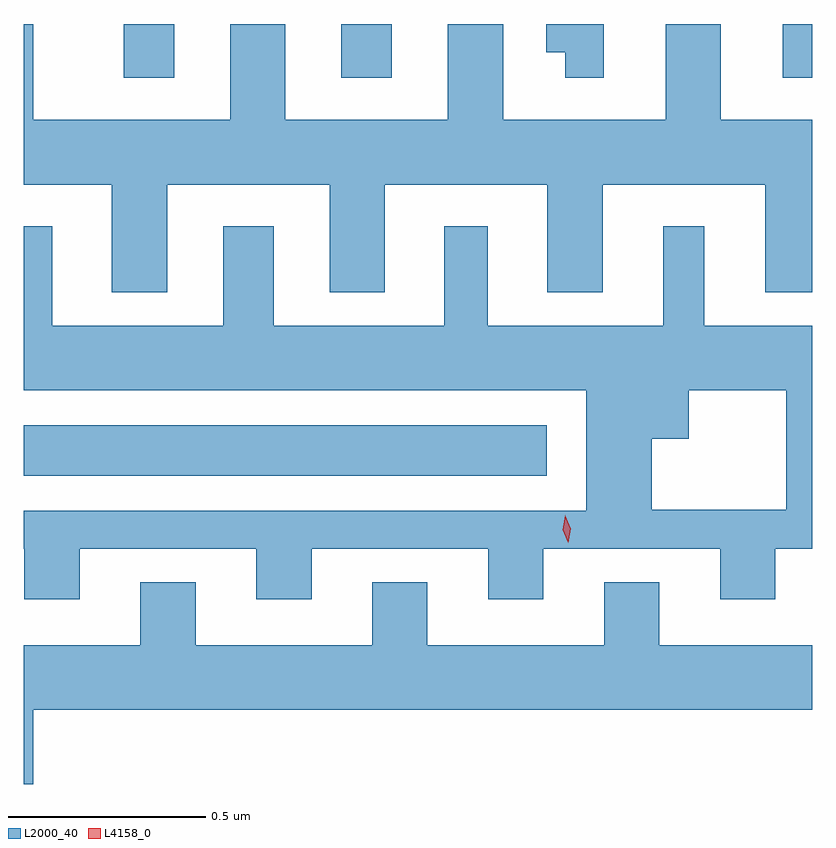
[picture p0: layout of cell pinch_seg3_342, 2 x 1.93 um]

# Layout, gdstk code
import gdstk
lib = gdstk.Library(unit=1e-6, precision=1e-09)
def R(c, l, rs):  # rectangles x0, y0, x1, y1
    for r in rs: c.add(gdstk.rectangle(r[:2], r[2:], *l))
def P(c, l, *ps):  # polygons
    for p in ps: c.add(gdstk.Polygon(p, *l))
L2000_40 = (2000, 40)
L4158_0 = (4158, 0)

pinch_seg3_342 = lib.new_cell('pinch_seg3_342')
R(pinch_seg3_342, L2000_40, [(1004.307,718.826,1005.634,718.954), (1004.561,719.835,1004.689,719.971), (1005.113,719.835,1005.241,719.971), (1006.232,719.835,1006.307,719.971)])
P(pinch_seg3_342, L2000_40, [(1004.671,719.564),(1005.083,719.564),(1005.083,719.291),(1005.223,719.291),(1005.223,719.564),(1005.635,719.564),(1005.635,719.291),(1005.775,719.291),(1005.775,719.564),(1006.187,719.564),(1006.187,719.291),(1006.307,719.291),(1006.307,719.728),(1006.075,719.728),(1006.075,719.971),(1005.935,719.971),(1005.935,719.728),(1005.523,719.728),(1005.523,719.971),(1005.383,719.971),(1005.383,719.728),(1004.971,719.728),(1004.971,719.971),(1004.831,719.971),(1004.831,719.728),(1004.332,719.728),(1004.332,719.971),(1004.307,719.971),(1004.307,719.564),(1004.531,719.564),(1004.531,719.291),(1004.671,719.291)],
  [(1005.778,719.971),(1005.632,719.971),(1005.632,719.9),(1005.68,719.9),(1005.68,719.835),(1005.778,719.835)],
  [(1004.307,718.737),(1004.307,718.641),(1004.309,718.641),(1004.309,718.512),(1004.449,718.512),(1004.449,718.641),(1004.897,718.641),(1004.897,718.512),(1005.037,718.512),(1005.037,718.641),(1005.485,718.641),(1005.485,718.512),(1005.625,718.512),(1005.625,718.641),(1006.073,718.641),(1006.073,718.512),(1006.213,718.512),(1006.213,718.64),(1006.307,718.64),(1006.307,719.206),(1006.033,719.206),(1006.033,719.458),(1005.929,719.458),(1005.929,719.206),(1005.484,719.206),(1005.484,719.458),(1005.374,719.458),(1005.374,719.206),(1004.941,719.206),(1004.941,719.458),(1004.813,719.458),(1004.813,719.206),(1004.38,719.206),(1004.38,719.458),(1004.307,719.458),(1004.307,719.042),(1005.734,719.042),(1005.734,718.739),(1005.9,718.739),(1005.9,718.919),(1005.994,718.919),(1005.994,719.042),(1006.241,719.042),(1006.241,718.739),(1005.9,718.739),(1005.734,718.739),(1005.734,718.737)],
  [(1004.332,718.232),(1006.307,718.232),(1006.307,718.396),(1005.919,718.396),(1005.919,718.556),(1005.779,718.556),(1005.779,718.396),(1005.331,718.396),(1005.331,718.556),(1005.191,718.556),(1005.191,718.396),(1004.743,718.396),(1004.743,718.556),(1004.603,718.556),(1004.603,718.396),(1004.307,718.396),(1004.307,718.044),(1004.332,718.044)])
P(pinch_seg3_342, L4158_0, [(1005.688,718.656),(1005.688,718.656),(1005.674,718.689),(1005.68,718.724),(1005.68,718.725),(1005.68,718.724),(1005.694,718.691),(1005.688,718.656)])

lib.write_gds('pinch_seg3_342.gds')
